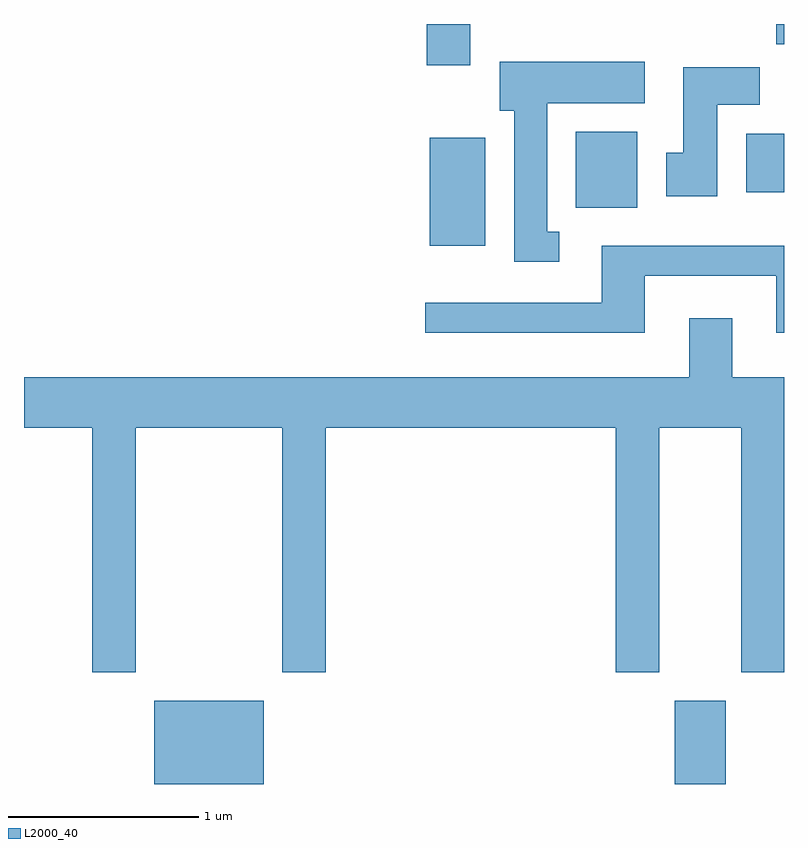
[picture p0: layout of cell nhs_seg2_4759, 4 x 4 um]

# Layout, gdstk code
import gdstk
lib = gdstk.Library(unit=1e-6, precision=1e-09)
def R(c, l, rs):  # rectangles x0, y0, x1, y1
    for r in rs: c.add(gdstk.rectangle(r[:2], r[2:], *l))
def P(c, l, *ps):  # polygons
    for p in ps: c.add(gdstk.Polygon(p, *l))
L2000_40 = (2000, 40)

nhs_seg2_4759 = lib.new_cell('nhs_seg2_4759')
R(nhs_seg2_4759, L2000_40, [(326.296,1019.802,326.874,1020.239), (329.036,1019.802,329.304,1020.239), (327.746,1022.636,328.039,1023.204), (328.516,1022.836,328.839,1023.234), (329.411,1022.916,329.611,1023.224), (327.731,1023.586,327.959,1023.802), (329.571,1023.696,329.611,1023.802)])
P(nhs_seg2_4759, L2000_40, [(328.428,1022.709),(328.364,1022.709),(328.364,1023.386),(328.879,1023.386),(328.879,1023.604),(328.116,1023.604),(328.116,1023.346),(328.191,1023.346),(328.191,1022.551),(328.428,1022.551)],
  [(329.259,1023.376),(329.484,1023.376),(329.484,1023.574),(329.081,1023.574),(329.081,1023.124),(328.991,1023.124),(328.991,1022.896),(329.259,1022.896)],
  [(328.879,1022.476),(329.571,1022.476),(329.571,1022.176),(329.611,1022.176),(329.611,1022.634),(328.651,1022.634),(328.651,1022.334),(327.723,1022.334),(327.723,1022.176),(328.879,1022.176)],
  [(326.199,1021.676),(326.971,1021.676),(326.971,1020.391),(327.199,1020.391),(327.199,1021.676),(328.726,1021.676),(328.726,1020.391),(328.954,1020.391),(328.954,1021.676),(329.386,1021.676),(329.386,1020.391),(329.611,1020.391),(329.611,1021.944),(329.339,1021.944),(329.339,1022.254),(329.111,1022.254),(329.111,1021.944),(325.611,1021.944),(325.611,1021.676),(325.971,1021.676),(325.971,1020.391),(326.199,1020.391)])

lib.write_gds('nhs_seg2_4759.gds')
